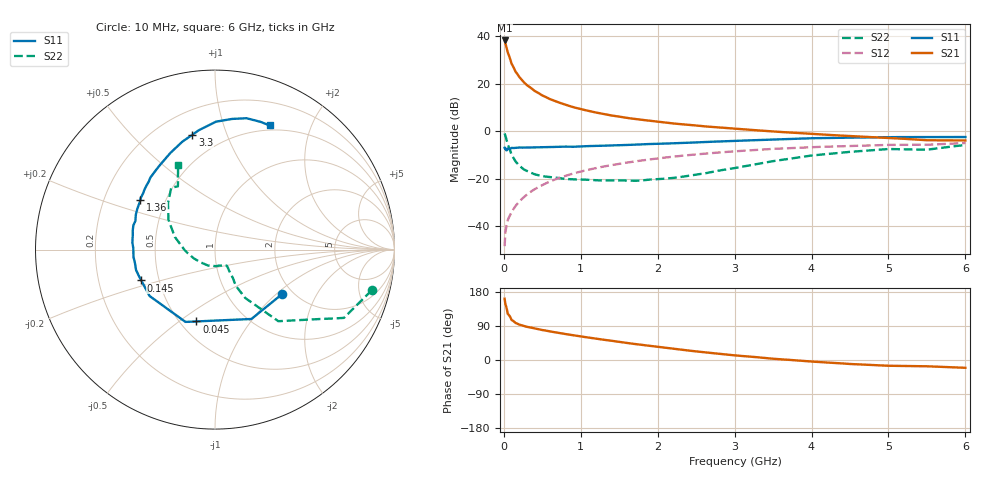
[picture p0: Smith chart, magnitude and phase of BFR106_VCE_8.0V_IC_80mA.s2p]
! Infineon Technologies  Discrete & RF Semiconductors
! BFR106
! VCE =  8.0 V,  IC =  80 mA
! Common Emitter S-Parameters:  Nov 2015
# GHz  S  MA  R  50
!  f  S11  S21  S12  S22
! GHz  MAG  ANG  MAG  ANG  MAG  ANG  MAG  ANG
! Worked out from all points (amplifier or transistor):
!   210 points, 10 MHz to 6 GHz, reference 50 ohm
!   highest |S21| = 38.2 dB at 10 MHz (marker M1)
!   |S21| within 3 dB of that: start of sweep to 35.11 MHz
!   unconditionally stable (mu >= 1): 220.4 MHz to 2.384 GHz
!   at 185 MHz: K = 0.96, MSG = 26.9 dB, |S12| = -30.2 dB
!   at 1.52 GHz: K = 1.06, MAG = 8.4 dB, |S12| = -13.6 dB
!   at 6 GHz: K = 0.98, MSG = 0.5 dB, |S12| = -5.0 dB
!   S11 on the Smith chart (normalised r, x): 10 MHz: 1.76, -1.09; 45 MHz: 0.60, -0.58; 145 MHz: 0.40, -0.17; 1.36 GHz: 0.36, +0.27; 3.3 GHz: 0.34, +0.76; 6 GHz: 0.45, +1.44
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0.01  0.4488 -33.5  81.72 161.7  0.0038 84.6  0.9018 -14.6
0.02  0.4366 -62.3  72.44 147.6  0.0074 71.4  0.8128 -27.9
0.045  0.4133 -104.5  49.71 128.1  0.0122 62.6  0.5727 -43.7
0.05  0.4352 -112.2  46.24 122.1  0.0132 61.6  0.5327 -48.5
0.1  0.4469 -144.7  26.64 105.8  0.0198 62.7  0.318 -58.0
0.145  0.4461 -157.3  19.08 99.1  0.0257 66.2  0.2404 -59.9
0.15  0.4473 -158.7  18.27 98.0  0.0264 66.5  0.2318 -60.2
0.2  0.4543 -165.5  13.94 93.5  0.033 69.2  0.1896 -57.9
0.24  0.4523 -170.0  11.72 90.8  0.0382 69.9  0.1658 -57.1
0.3  0.4561 -174.7  9.357 87.5  0.0464 71.6  0.1455 -56.6
0.4  0.4553 179.0  7.087 83.2  0.0601 72.6  0.1241 -54.6
0.5  0.462 175.2  5.681 79.1  0.0734 72.5  0.1131 -53.4
0.6  0.4642 170.7  4.756 75.4  0.0875 72.1  0.1087 -54.7
0.8  0.4745 163.4  3.613 68.5  0.1148 70.2  0.099 -59.3
1.02  0.4822 156.2  2.876 61.6  0.1443 67.7  0.0962 -65.7
1.36  0.5003 146.2  2.208 51.8  0.1886 63.3  0.092 -81.3
2.02  0.5451 129.1  1.57 34.2  0.2699 54.1  0.0985 -122.6
3.1  0.6353 104.9  1.103 10.6  0.387 38.2  0.1794 176.6
3.3  0.6521 101.2  1.044 7.2  0.4059 35.2  0.2055 168.6
4.1  0.716 88.2  0.861 -5.3  0.4685 23.5  0.319 144.5
5.1  0.7527 75.3  0.71 -15.5  0.5165 10.7  0.4196 124.3
6  0.756 66.2  0.64 -20.6  0.5651 0.8  0.5148 113.5
